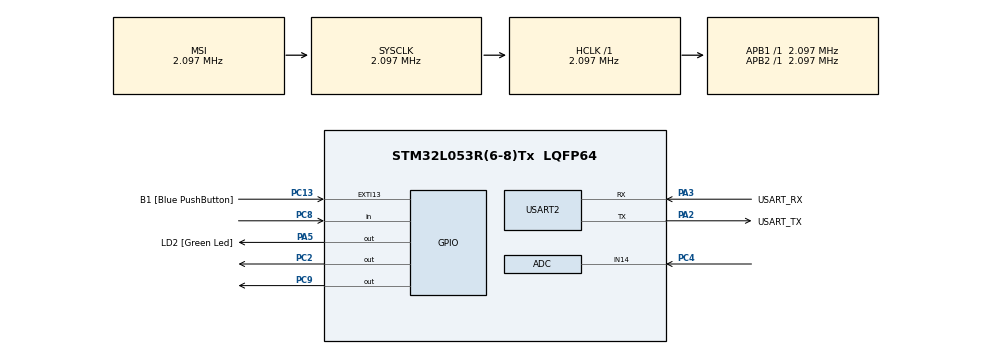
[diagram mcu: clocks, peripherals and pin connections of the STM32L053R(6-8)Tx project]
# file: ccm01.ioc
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Mcu.Family=STM32L0
Mcu.Name=STM32L053R(6-8)Tx
Mcu.Package=LQFP64
NVIC.ADC1_COMP_IRQn=true\:0\:0\:false\:false\:true\:true\:true\:true
NVIC.USART2_IRQn=true\:0\:0\:false\:false\:true\:true\:true\:true
PA13.GPIO_Label=TMS
PA13.Mode=Serial_Wire
PA13.Signal=SYS_SWDIO
PA14.GPIO_Label=TCK
PA14.Mode=Serial_Wire
PA14.Signal=SYS_SWCLK
PA2.GPIO_Label=USART_TX
PA2.Mode=Asynchronous
PA2.Signal=USART2_TX
PA3.GPIO_Label=USART_RX
PA3.Mode=Asynchronous
PA3.Signal=USART2_RX
PA5.GPIO_Label=LD2 [Green Led]
PA5.Signal=GPIO_Output
PC13.GPIO_Label=B1 [Blue PushButton]
PC13.GPIO_ModeDefaultEXTI=GPIO_MODE_IT_FALLING
PC13.Signal=GPXTI13
PC14-OSC32_IN.Mode=LSE-External-Oscillator
PC14-OSC32_IN.Signal=RCC_OSC32_IN
PC15-OSC32_OUT.Mode=LSE-External-Oscillator
PC15-OSC32_OUT.Signal=RCC_OSC32_OUT
PC2.PinState=GPIO_PIN_SET
PC2.Signal=GPIO_Output
PC4.Mode=IN14
PC4.Signal=ADC_IN14
PC8.Signal=GPIO_Input
PC9.Signal=GPIO_Output
PH0-OSC_IN.Mode=HSE-External-Clock-Source
PH0-OSC_IN.Signal=RCC_OSC_IN
PH1-OSC_OUT.Signal=RCC_OSC_OUT
ProjectManager.HeapSize=0x200
ProjectManager.StackSize=0x400
ProjectManager.TargetToolchain=EWARM V7
RCC.AHBFreq_Value=2097000
RCC.APB1Freq_Value=2097000
RCC.APB1TimFreq_Value=2097000
RCC.APB2Freq_Value=2097000
RCC.APB2TimFreq_Value=2097000
RCC.HSE_VALUE=8000000
RCC.HSI16_VALUE=16000000
RCC.HSI48_VALUE=48000000
RCC.HSI_VALUE=16000000
RCC.MSI_VALUE=2097000
RCC.SYSCLKFreq_VALUE=2097000
RCC.VCOOutputFreq_Value=48000000
USART2.VirtualMode-Asynchronous=VM_ASYNC
board=NUCLEO-L053R8

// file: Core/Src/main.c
/* USER CODE BEGIN Header */
/**
  ******************************************************************************
  * @file           : main.c
  * @brief          : Main program body
  ******************************************************************************
  * @attention
  *
  * Copyright (c) 2023 STMicroelectronics.
  * All rights reserved.
  *
  * This software is licensed under terms that can be found in the LICENSE file
  * in the root directory of this software component.
  * If no LICENSE file comes with this software, it is provided AS-IS.
  *
  ******************************************************************************
  */
/* USER CODE END Header */
#include "main.h"
#include "adc.h"
#include "usart.h"
#include "gpio.h"

/* USER CODE BEGIN Includes */
#include "stdio.h"
/* USER CODE END Includes */

/* USER CODE BEGIN PTD */
#define MAX_CNT 5
/* USER CODE END PTD */

/* USER CODE BEGIN PD */
int fputc(int ch, FILE *f)
{
    HAL_UART_Transmit(&huart2, (uint8_t *)&ch, 1 , 0xffff);
    return ch;
}
/* USER CODE END PD */

/* USER CODE BEGIN PV */
uint32_t ADCvalues[MAX_CNT]={0};
uint8_t idx = 0;
uint8_t sendFlag = 0;
/* USER CODE END PV */

void SystemClock_Config(void);
/* USER CODE BEGIN PFP */
void HAL_ADC_ConvCpltCallback(ADC_HandleTypeDef* hadc);
/* USER CODE END PFP */

int main(void)
{
  /* USER CODE BEGIN 1 */
  float ADCvol = 0;
  float ADCvalSum = 0;
  // uint32_t cdct = 0;
  uint8_t ii = 0;
  uint8_t adcFlag = 0;
  /* USER CODE END 1 */

  /* MCU Configuration--------------------------------------------------------*/

  /* Reset of all peripherals, Initializes the Flash interface and the Systick. */
  HAL_Init();

  /* Configure the system clock */
  SystemClock_Config();

  /* Initialize all configured peripherals */
  MX_GPIO_Init();
  MX_USART2_UART_Init();
  MX_ADC_Init();
  /* USER CODE BEGIN 2 */
  printf("Ready to detect!\n");
  printf("press button to start\n");
  /* USER CODE END 2 */

  /* Infinite loop */
  while (1)
  {

    /* USER CODE BEGIN 3 */

    //TODO adc 单通道中断方式
    if (HAL_GPIO_ReadPin(B1_GPIO_Port,B1_Pin) == GPIO_PIN_RESET){
        adcFlag = 1;

    }

    if (adcFlag){
        HAL_ADCEx_Calibration_Start(&hadc, ADC_SINGLE_ENDED); //校准
        HAL_ADC_Start_IT(&hadc); //启动
        if (sendFlag){
          //TODO ADC数值转电压
          ADCvalSum = 0;
          ii = 0;
          while (ii != MAX_CNT){
            ADCvalSum += (float) (ADCvalues[ii] * 3.3 / 4095); //! if divide first, too small, = 0
            // printf("%f\n", (ADCvalues[ii] / 4095) * 3.3);
            // printf("%d\n", ADCvalues[ii]);
            ii++;
          }
          ADCvol = ADCvalSum / MAX_CNT; // 12bit ADC
          //todo 电压转电导率

          //todo 发送电导率
          printf("The average voltage: %f V\n", ADCvol);
          // printf("The conductivity is: %d uS/cm\n",cdct);
        }
        sendFlag = 0;
        HAL_GPIO_WritePin(LD2_GPIO_Port, LD2_Pin, GPIO_PIN_SET); //绿灯亮
        HAL_Delay(300);
        HAL_GPIO_WritePin(LD2_GPIO_Port, LD2_Pin, GPIO_PIN_RESET); //绿灯灭
        HAL_Delay(300);
    }

  }
  /* USER CODE END 3 */
}

void SystemClock_Config(void)
{
  RCC_OscInitTypeDef RCC_OscInitStruct = {0};
  RCC_ClkInitTypeDef RCC_ClkInitStruct = {0};
  RCC_PeriphCLKInitTypeDef PeriphClkInit = {0};

  /** Configure the main internal regulator output voltage
  */
  __HAL_PWR_VOLTAGESCALING_CONFIG(PWR_REGULATOR_VOLTAGE_SCALE1);

  /** Initializes the RCC Oscillators according to the specified parameters
  * in the RCC_OscInitTypeDef structure.
  */
  RCC_OscInitStruct.OscillatorType = RCC_OSCILLATORTYPE_MSI;
  RCC_OscInitStruct.MSIState = RCC_MSI_ON;
  RCC_OscInitStruct.MSICalibrationValue = 0;
  RCC_OscInitStruct.MSIClockRange = RCC_MSIRANGE_5;
  RCC_OscInitStruct.PLL.PLLState = RCC_PLL_NONE;
  if (HAL_RCC_OscConfig(&RCC_OscInitStruct) != HAL_OK)
  {
    Error_Handler();
  }

  /** Initializes the CPU, AHB and APB buses clocks
  */
  RCC_ClkInitStruct.ClockType = RCC_CLOCKTYPE_HCLK|RCC_CLOCKTYPE_SYSCLK
                              |RCC_CLOCKTYPE_PCLK1|RCC_CLOCKTYPE_PCLK2;
  RCC_ClkInitStruct.SYSCLKSource = RCC_SYSCLKSOURCE_MSI;
  RCC_ClkInitStruct.AHBCLKDivider = RCC_SYSCLK_DIV1;
  RCC_ClkInitStruct.APB1CLKDivider = RCC_HCLK_DIV1;
  RCC_ClkInitStruct.APB2CLKDivider = RCC_HCLK_DIV1;

  if (HAL_RCC_ClockConfig(&RCC_ClkInitStruct, FLASH_LATENCY_0) != HAL_OK)
  {
    Error_Handler();
  }
  PeriphClkInit.PeriphClockSelection = RCC_PERIPHCLK_USART2;
  PeriphClkInit.Usart2ClockSelection = RCC_USART2CLKSOURCE_PCLK1;
  if (HAL_RCCEx_PeriphCLKConfig(&PeriphClkInit) != HAL_OK)
  {
    Error_Handler();
  }
}

/* USER CODE BEGIN 4 */
void HAL_UART_RxCpltCallback(UART_HandleTypeDef *huart)
{
	//if(huart->Instance==USART2)

}

void HAL_ADC_ConvCpltCallback(ADC_HandleTypeDef* hadc)//回调函数
{

    ADCvalues[idx++] = HAL_ADC_GetValue(hadc); // this hadc
    // printf("%f\n", ADCvalues[idx-1]*3.3/4096);
    if (idx == MAX_CNT){
        idx = 0;
        sendFlag = 1;
    }
}
/* USER CODE END 4 */

void Error_Handler(void)
{
  __disable_irq();
  while (1)
  {
  }
}
